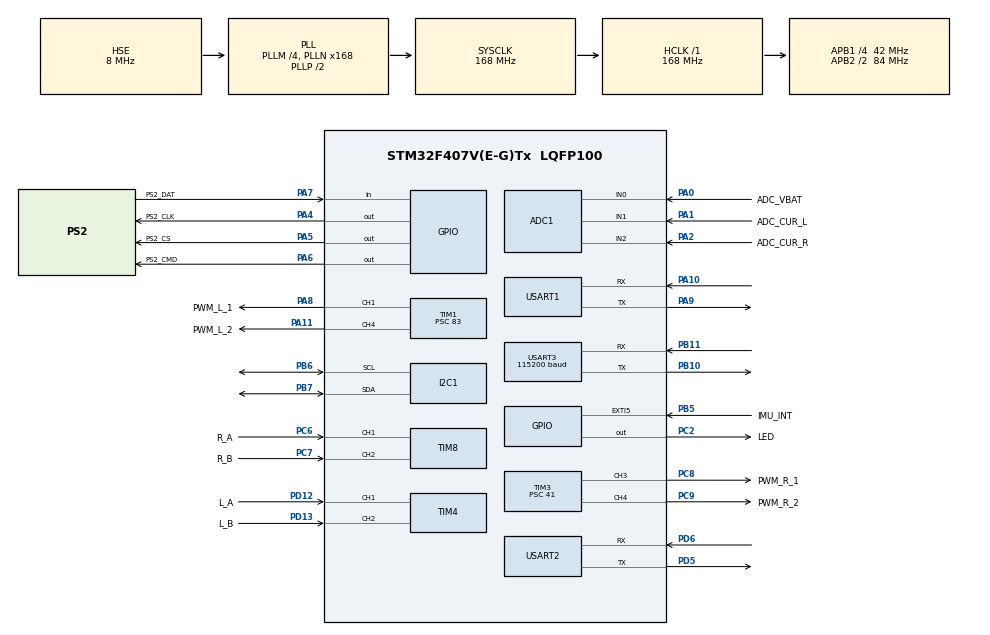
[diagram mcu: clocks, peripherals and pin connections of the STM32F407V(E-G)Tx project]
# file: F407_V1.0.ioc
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ADC1.Channel-1\#ChannelRegularConversion=ADC_CHANNEL_0
ADC1.Channel-2\#ChannelRegularConversion=ADC_CHANNEL_1
ADC1.Channel-3\#ChannelRegularConversion=ADC_CHANNEL_2
ADC1.ContinuousConvMode=ENABLE
ADC1.DMAContinuousRequests=ENABLE
ADC1.EOCSelection=ADC_EOC_SEQ_CONV
ADC1.NbrOfConversion=3
ADC1.NbrOfConversionFlag=1
ADC1.Rank-1\#ChannelRegularConversion=1
ADC1.Rank-2\#ChannelRegularConversion=2
ADC1.Rank-3\#ChannelRegularConversion=3
ADC1.SamplingTime-1\#ChannelRegularConversion=ADC_SAMPLETIME_144CYCLES
ADC1.SamplingTime-2\#ChannelRegularConversion=ADC_SAMPLETIME_144CYCLES
ADC1.SamplingTime-3\#ChannelRegularConversion=ADC_SAMPLETIME_144CYCLES
ADC1.ScanConvMode=ENABLE
ADC1.master=1
Dma.ADC1.0.Direction=DMA_PERIPH_TO_MEMORY
Dma.ADC1.0.FIFOMode=DMA_FIFOMODE_DISABLE
Dma.ADC1.0.Instance=DMA2_Stream0
Dma.ADC1.0.MemDataAlignment=DMA_MDATAALIGN_HALFWORD
Dma.ADC1.0.MemInc=DMA_MINC_ENABLE
Dma.ADC1.0.Mode=DMA_CIRCULAR
Dma.ADC1.0.PeriphDataAlignment=DMA_PDATAALIGN_HALFWORD
Dma.ADC1.0.PeriphInc=DMA_PINC_DISABLE
Dma.ADC1.0.Priority=DMA_PRIORITY_MEDIUM
Dma.Request0=ADC1
Dma.Request1=USART2_RX
Dma.Request2=USART2_TX
Dma.Request3=USART3_RX
Dma.Request4=USART3_TX
Dma.USART2_RX.1.Direction=DMA_PERIPH_TO_MEMORY
Dma.USART2_RX.1.FIFOMode=DMA_FIFOMODE_DISABLE
Dma.USART2_RX.1.Instance=DMA1_Stream5
Dma.USART2_RX.1.MemDataAlignment=DMA_MDATAALIGN_BYTE
Dma.USART2_RX.1.MemInc=DMA_MINC_ENABLE
Dma.USART2_RX.1.Mode=DMA_CIRCULAR
Dma.USART2_RX.1.PeriphDataAlignment=DMA_PDATAALIGN_BYTE
Dma.USART2_RX.1.PeriphInc=DMA_PINC_DISABLE
Dma.USART2_RX.1.Priority=DMA_PRIORITY_MEDIUM
Dma.USART2_TX.2.Direction=DMA_MEMORY_TO_PERIPH
Dma.USART2_TX.2.FIFOMode=DMA_FIFOMODE_DISABLE
Dma.USART2_TX.2.Instance=DMA1_Stream6
Dma.USART2_TX.2.MemDataAlignment=DMA_MDATAALIGN_BYTE
Dma.USART2_TX.2.MemInc=DMA_MINC_ENABLE
Dma.USART2_TX.2.Mode=DMA_NORMAL
Dma.USART2_TX.2.PeriphDataAlignment=DMA_PDATAALIGN_BYTE
Dma.USART2_TX.2.PeriphInc=DMA_PINC_DISABLE
Dma.USART2_TX.2.Priority=DMA_PRIORITY_LOW
Dma.USART3_RX.3.Direction=DMA_PERIPH_TO_MEMORY
Dma.USART3_RX.3.FIFOMode=DMA_FIFOMODE_DISABLE
Dma.USART3_RX.3.Instance=DMA1_Stream1
Dma.USART3_RX.3.MemDataAlignment=DMA_MDATAALIGN_BYTE
Dma.USART3_RX.3.MemInc=DMA_MINC_ENABLE
Dma.USART3_RX.3.Mode=DMA_CIRCULAR
Dma.USART3_RX.3.PeriphDataAlignment=DMA_PDATAALIGN_BYTE
Dma.USART3_RX.3.PeriphInc=DMA_PINC_DISABLE
Dma.USART3_RX.3.Priority=DMA_PRIORITY_MEDIUM
Dma.USART3_TX.4.Direction=DMA_MEMORY_TO_PERIPH
Dma.USART3_TX.4.FIFOMode=DMA_FIFOMODE_DISABLE
Dma.USART3_TX.4.Instance=DMA1_Stream3
Dma.USART3_TX.4.MemDataAlignment=DMA_MDATAALIGN_BYTE
Dma.USART3_TX.4.MemInc=DMA_MINC_ENABLE
Dma.USART3_TX.4.Mode=DMA_NORMAL
Dma.USART3_TX.4.PeriphDataAlignment=DMA_PDATAALIGN_BYTE
Dma.USART3_TX.4.PeriphInc=DMA_PINC_DISABLE
Dma.USART3_TX.4.Priority=DMA_PRIORITY_LOW
FREERTOS.Tasks01=systemTask,24,512,StartDefaultTask,Default,NULL,Dynamic,NULL,NULL
FREERTOS.configTOTAL_HEAP_SIZE=24576
I2C1.I2C_Mode=I2C_Fast
Mcu.Family=STM32F4
Mcu.Name=STM32F407V(E-G)Tx
Mcu.Package=LQFP100
NVIC.DMA1_Stream1_IRQn=true\:5\:0\:false\:false\:true\:true\:false\:true\:true
NVIC.DMA1_Stream3_IRQn=true\:5\:0\:false\:false\:true\:true\:false\:true\:true
NVIC.DMA1_Stream5_IRQn=true\:5\:0\:false\:false\:true\:true\:false\:true\:true
NVIC.DMA1_Stream6_IRQn=true\:5\:0\:false\:false\:true\:true\:false\:true\:true
NVIC.DMA2_Stream0_IRQn=true\:5\:0\:false\:false\:true\:true\:false\:true\:true
NVIC.EXTI9_5_IRQn=true\:7\:0\:true\:false\:true\:true\:true\:true\:true
NVIC.PriorityGroup=NVIC_PRIORITYGROUP_4
NVIC.TIM6_DAC_IRQn=true\:15\:0\:false\:false\:true\:false\:false\:true\:true
NVIC.TimeBase=TIM6_DAC_IRQn
NVIC.TimeBaseIP=TIM6
NVIC.USART2_IRQn=true\:5\:0\:false\:false\:true\:true\:false\:true\:true
NVIC.USART3_IRQn=true\:5\:0\:false\:false\:true\:true\:false\:true\:true
PA0-WKUP.GPIO_Label=ADC_VBAT
PA0-WKUP.Signal=ADCx_IN0
PA1.GPIO_Label=ADC_CUR_L
PA1.Signal=ADCx_IN1
PA10.Mode=Asynchronous
PA10.Signal=USART1_RX
PA11.GPIO_Label=PWM_L_2
PA11.GPIO_Speed=GPIO_SPEED_FREQ_VERY_HIGH
PA11.Signal=S_TIM1_CH4
PA13.Mode=Serial_Wire
PA13.Signal=SYS_JTMS-SWDIO
PA14.Mode=Serial_Wire
PA14.Signal=SYS_JTCK-SWCLK
PA2.GPIO_Label=ADC_CUR_R
PA2.Signal=ADCx_IN2
PA4.GPIO_Label=PS2_CLK
PA4.GPIO_PuPd=GPIO_PULLUP
PA4.GPIO_Speed=GPIO_SPEED_FREQ_HIGH
PA4.PinState=GPIO_PIN_SET
PA4.Signal=GPIO_Output
PA5.GPIO_Label=PS2_CS
PA5.GPIO_PuPd=GPIO_PULLUP
PA5.GPIO_Speed=GPIO_SPEED_FREQ_HIGH
PA5.PinState=GPIO_PIN_SET
PA5.Signal=GPIO_Output
PA6.GPIO_Label=PS2_CMD
PA6.GPIO_PuPd=GPIO_PULLUP
PA6.GPIO_Speed=GPIO_SPEED_FREQ_HIGH
PA6.PinState=GPIO_PIN_SET
PA6.Signal=GPIO_Output
PA7.GPIO_Label=PS2_DAT
PA7.GPIO_PuPd=GPIO_PULLUP
PA7.Signal=GPIO_Input
PA8.GPIO_Label=PWM_L_1
PA8.GPIO_Speed=GPIO_SPEED_FREQ_VERY_HIGH
PA8.Signal=S_TIM1_CH1
PA9.Mode=Asynchronous
PA9.Signal=USART1_TX
PB10.Mode=Asynchronous
PB10.Signal=USART3_TX
PB11.Mode=Asynchronous
PB11.Signal=USART3_RX
PB5.GPIO_Label=IMU_INT
PB5.GPIO_PuPd=GPIO_PULLDOWN
PB5.Signal=GPXTI5
PB6.Mode=I2C
PB6.Signal=I2C1_SCL
PB7.Mode=I2C
PB7.Signal=I2C1_SDA
PC2.GPIO_Label=LED
PC2.Signal=GPIO_Output
PC6.GPIO_Label=R_A 
PC6.GPIO_Speed=GPIO_SPEED_FREQ_VERY_HIGH
PC6.Signal=S_TIM8_CH1
PC7.GPIO_Label=R_B
PC7.GPIO_Speed=GPIO_SPEED_FREQ_VERY_HIGH
PC7.Signal=S_TIM8_CH2
PC8.GPIO_Label=PWM_R_1
PC8.GPIO_Speed=GPIO_SPEED_FREQ_VERY_HIGH
PC8.Signal=S_TIM3_CH3
PC9.GPIO_Label=PWM_R_2
PC9.GPIO_Speed=GPIO_SPEED_FREQ_VERY_HIGH
PC9.Signal=S_TIM3_CH4
PD12.GPIO_Label=L_A
PD12.GPIO_Speed=GPIO_SPEED_FREQ_VERY_HIGH
PD12.Signal=S_TIM4_CH1
PD13.GPIO_Label=L_B
PD13.GPIO_Speed=GPIO_SPEED_FREQ_VERY_HIGH
PD13.Signal=S_TIM4_CH2
PD5.Mode=Asynchronous
PD5.Signal=USART2_TX
PD6.Mode=Asynchronous
PD6.Signal=USART2_RX
PH0-OSC_IN.Mode=HSE-External-Oscillator
PH0-OSC_IN.Signal=RCC_OSC_IN
PH1-OSC_OUT.Mode=HSE-External-Oscillator
PH1-OSC_OUT.Signal=RCC_OSC_OUT
ProjectManager.HeapSize=0x1000
ProjectManager.StackSize=0x1000
ProjectManager.TargetToolchain=CMake
RCC.48MHZClocksFreq_Value=84000000
RCC.AHBFreq_Value=168000000
RCC.APB1CLKDivider=RCC_HCLK_DIV4
RCC.APB1Freq_Value=42000000
RCC.APB1TimFreq_Value=84000000
RCC.APB2CLKDivider=RCC_HCLK_DIV2
RCC.APB2Freq_Value=84000000
RCC.APB2TimFreq_Value=168000000
RCC.CortexFreq_Value=168000000
RCC.HCLKFreq_Value=168000000
RCC.HSE_VALUE=8000000
RCC.HSI_VALUE=16000000
RCC.LSE_VALUE=32768
RCC.PLLM=4
RCC.PLLN=168
RCC.PLLSourceVirtual=RCC_PLLSOURCE_HSE
RCC.SYSCLKFreq_VALUE=168000000
RCC.SYSCLKSource=RCC_SYSCLKSOURCE_PLLCLK
RCC.VCOOutputFreq_Value=336000000
SH.ADCx_IN0.0=ADC1_IN0,IN0
SH.ADCx_IN1.0=ADC1_IN1,IN1
SH.ADCx_IN2.0=ADC1_IN2,IN2
SH.S_TIM1_CH1.0=TIM1_CH1,PWM Generation1 CH1
SH.S_TIM1_CH4.0=TIM1_CH4,PWM Generation4 CH4
SH.S_TIM3_CH3.0=TIM3_CH3,PWM Generation3 CH3
SH.S_TIM3_CH4.0=TIM3_CH4,PWM Generation4 CH4
SH.S_TIM4_CH1.0=TIM4_CH1,Encoder_Interface
SH.S_TIM4_CH2.0=TIM4_CH2,Encoder_Interface
SH.S_TIM8_CH1.0=TIM8_CH1,Encoder_Interface
SH.S_TIM8_CH2.0=TIM8_CH2,Encoder_Interface
TIM1.AutoReloadPreload=TIM_AUTORELOAD_PRELOAD_ENABLE
TIM1.Channel-PWM\ Generation1\ CH1=TIM_CHANNEL_1
TIM1.Channel-PWM\ Generation4\ CH4=TIM_CHANNEL_4
TIM1.Period=99
TIM1.Prescaler=83
TIM3.AutoReloadPreload=TIM_AUTORELOAD_PRELOAD_ENABLE
TIM3.Channel-PWM\ Generation3\ CH3=TIM_CHANNEL_3
TIM3.Channel-PWM\ Generation4\ CH4=TIM_CHANNEL_4
TIM3.Period=99
TIM3.Prescaler=41
TIM4.EncoderMode=TIM_ENCODERMODE_TI12
TIM4.IC1Filter=8
TIM4.IC2Filter=8
TIM8.EncoderMode=TIM_ENCODERMODE_TI12
TIM8.IC1Filter=8
TIM8.IC2Filter=8
USART1.VirtualMode=VM_ASYNC
USART2.VirtualMode=VM_ASYNC
USART3.BaudRate=115200
USART3.VirtualMode=VM_ASYNC
VP_FREERTOS_VS_CMSIS_V2.Mode=CMSIS_V2
VP_SYS_VS_tim6.Mode=TIM6
VP_TIM1_VS_ClockSourceINT.Mode=Internal
VP_TIM3_VS_ClockSourceINT.Mode=Internal
board=custom

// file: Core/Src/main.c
/* USER CODE BEGIN Header */
/**
  ******************************************************************************
  * @file           : main.c
  * @brief          : Main program body
  ******************************************************************************
  * @attention
  *
  * Copyright (c) 2026 STMicroelectronics.
  * All rights reserved.
  *
  * This software is licensed under terms that can be found in the LICENSE file
  * in the root directory of this software component.
  * If no LICENSE file comes with this software, it is provided AS-IS.
  *
  ******************************************************************************
  */
/* USER CODE END Header */
#include "main.h"
#include "cmsis_os.h"
#include "adc.h"
#include "dma.h"
#include "i2c.h"
#include "tim.h"
#include "usart.h"
#include "gpio.h"

void SystemClock_Config(void);
void MX_FREERTOS_Init(void);

int main(void)
{

  /* MCU Configuration--------------------------------------------------------*/

  /* Reset of all peripherals, Initializes the Flash interface and the Systick. */
  HAL_Init();

  /* Configure the system clock */
  SystemClock_Config();

  /* Initialize all configured peripherals */
  MX_GPIO_Init();
  MX_DMA_Init();
  MX_ADC1_Init();
  MX_I2C1_Init();
  MX_TIM1_Init();
  MX_TIM3_Init();
  MX_TIM4_Init();
  MX_TIM8_Init();
  MX_USART1_UART_Init();
  MX_USART2_UART_Init();
  MX_USART3_UART_Init();

  /* Init scheduler */
  osKernelInitialize();  /* Call init function for freertos objects (in cmsis_os2.c) */
  MX_FREERTOS_Init();

  /* Start scheduler */
  osKernelStart();

  /* We should never get here as control is now taken by the scheduler */

  /* Infinite loop */
  while (1)
  {

  }
}

void SystemClock_Config(void)
{
  RCC_OscInitTypeDef RCC_OscInitStruct = {0};
  RCC_ClkInitTypeDef RCC_ClkInitStruct = {0};

  /** Configure the main internal regulator output voltage
  */
  __HAL_RCC_PWR_CLK_ENABLE();
  __HAL_PWR_VOLTAGESCALING_CONFIG(PWR_REGULATOR_VOLTAGE_SCALE1);

  /** Initializes the RCC Oscillators according to the specified parameters
  * in the RCC_OscInitTypeDef structure.
  */
  RCC_OscInitStruct.OscillatorType = RCC_OSCILLATORTYPE_HSE;
  RCC_OscInitStruct.HSEState = RCC_HSE_ON;
  RCC_OscInitStruct.PLL.PLLState = RCC_PLL_ON;
  RCC_OscInitStruct.PLL.PLLSource = RCC_PLLSOURCE_HSE;
  RCC_OscInitStruct.PLL.PLLM = 4;
  RCC_OscInitStruct.PLL.PLLN = 168;
  RCC_OscInitStruct.PLL.PLLP = RCC_PLLP_DIV2;
  RCC_OscInitStruct.PLL.PLLQ = 4;
  if (HAL_RCC_OscConfig(&RCC_OscInitStruct) != HAL_OK)
  {
    Error_Handler();
  }

  /** Initializes the CPU, AHB and APB buses clocks
  */
  RCC_ClkInitStruct.ClockType = RCC_CLOCKTYPE_HCLK|RCC_CLOCKTYPE_SYSCLK
                              |RCC_CLOCKTYPE_PCLK1|RCC_CLOCKTYPE_PCLK2;
  RCC_ClkInitStruct.SYSCLKSource = RCC_SYSCLKSOURCE_PLLCLK;
  RCC_ClkInitStruct.AHBCLKDivider = RCC_SYSCLK_DIV1;
  RCC_ClkInitStruct.APB1CLKDivider = RCC_HCLK_DIV4;
  RCC_ClkInitStruct.APB2CLKDivider = RCC_HCLK_DIV2;

  if (HAL_RCC_ClockConfig(&RCC_ClkInitStruct, FLASH_LATENCY_5) != HAL_OK)
  {
    Error_Handler();
  }
}

void HAL_TIM_PeriodElapsedCallback(TIM_HandleTypeDef *htim)
{
  if (htim->Instance == TIM6)
  {
    HAL_IncTick();
  }
}

void Error_Handler(void)
{
  __disable_irq();
  while (1)
  {
  }
}

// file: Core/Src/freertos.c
/* USER CODE BEGIN Header */
/**
  ******************************************************************************
  * File Name          : freertos.c
  * Description        : Code for freertos applications
  ******************************************************************************
  * @attention
  *
  * Copyright (c) 2026 STMicroelectronics.
  * All rights reserved.
  *
  * This software is licensed under terms that can be found in the LICENSE file
  * in the root directory of this software component.
  * If no LICENSE file comes with this software, it is provided AS-IS.
  *
  ******************************************************************************
  */
/* USER CODE END Header */

#include "FreeRTOS.h"
#include "task.h"
#include "main.h"
#include "cmsis_os.h"

/* USER CODE BEGIN Includes */
#include "chassis_tasks.h"
#include "usart1_debug_console.h"

/* USER CODE END Includes */

/* USER CODE BEGIN Variables */
osThreadId_t chassisControlTaskHandle;
osThreadId_t encoderUpdateTaskHandle;
osThreadId_t adcMonitorTaskHandle;
osThreadId_t imuUpdateTaskHandle;
osThreadId_t ledTaskHandle;
osThreadId_t upperUartTaskHandle;
osThreadId_t usart1DebugTaskHandle;
osThreadId_t ps2TaskHandle;
osThreadId_t esp01sTaskHandle;

const osThreadAttr_t chassisControlTask_attributes = {
  .name = "chassisControl",
  .stack_size = 512 * 4,
  .priority = (osPriority_t) osPriorityAboveNormal,
};

const osThreadAttr_t encoderUpdateTask_attributes = {
  .name = "encoderUpdate",
  .stack_size = 384 * 4,
  .priority = (osPriority_t) osPriorityNormal,
};

const osThreadAttr_t adcMonitorTask_attributes = {
  .name = "adcMonitor",
  .stack_size = 384 * 4,
  .priority = (osPriority_t) osPriorityBelowNormal,
};

const osThreadAttr_t imuUpdateTask_attributes = {
  .name = "imuUpdate",
  .stack_size = 384 * 4,
  .priority = (osPriority_t) osPriorityBelowNormal,
};

const osThreadAttr_t ledTask_attributes = {
  .name = "led",
  .stack_size = 256 * 4,
  .priority = (osPriority_t) osPriorityBelowNormal,
};

const osThreadAttr_t upperUartTask_attributes = {
  .name = "upperUart",
  .stack_size = 512 * 4,
  .priority = (osPriority_t) osPriorityNormal,
};

const osThreadAttr_t usart1DebugTask_attributes = {
  .name = "usart1Debug",
  .stack_size = 768 * 4,
  .priority = (osPriority_t) osPriorityLow,
};

const osThreadAttr_t ps2Task_attributes = {
  .name = "ps2",
  .stack_size = 512 * 4,
  .priority = (osPriority_t) osPriorityBelowNormal,
};

const osThreadAttr_t esp01sTask_attributes = {
  .name = "esp01s",
  .stack_size = 512 * 4,
  .priority = (osPriority_t) osPriorityNormal,
};

/* USER CODE END Variables */
/* Definitions for systemTask */
osThreadId_t systemTaskHandle;
const osThreadAttr_t systemTask_attributes = {
  .name = "systemTask",
  .stack_size = 512 * 4,
  .priority = (osPriority_t) osPriorityNormal,
};

void StartDefaultTask(void *argument);

void MX_FREERTOS_Init(void); /* (MISRA C 2004 rule 8.1) */

void MX_FREERTOS_Init(void) {
  /* USER CODE BEGIN Init */
  ChassisTasks_InitHardware();

  /* USER CODE END Init */

  /* Create the thread(s) */
  /* creation of systemTask */
  systemTaskHandle = osThreadNew(StartDefaultTask, NULL, &systemTask_attributes);

  /* USER CODE BEGIN RTOS_THREADS */
  /* add threads, ... */
  chassisControlTaskHandle = osThreadNew(Task_ChassisControl, NULL, &chassisControlTask_attributes);
  encoderUpdateTaskHandle = osThreadNew(Task_EncoderUpdate, NULL, &encoderUpdateTask_attributes);
  adcMonitorTaskHandle = osThreadNew(Task_AdcMonitor, NULL, &adcMonitorTask_attributes);
  imuUpdateTaskHandle = osThreadNew(Task_ImuUpdate, NULL, &imuUpdateTask_attributes);
  upperUartTaskHandle = osThreadNew(Task_UpperUart, NULL, &upperUartTask_attributes);
  usart1DebugTaskHandle = osThreadNew(Task_Usart1DebugConsole, NULL, &usart1DebugTask_attributes);
  ps2TaskHandle = osThreadNew(Task_Ps2, NULL, &ps2Task_attributes);
  esp01sTaskHandle = osThreadNew(Task_Esp01s, NULL, &esp01sTask_attributes);
  ledTaskHandle = osThreadNew(Task_Led, NULL, &ledTask_attributes);
  /* USER CODE END RTOS_THREADS */

}

void StartDefaultTask(void *argument)
{
  for(;;)
  {
    osDelay(1);
  }
}
